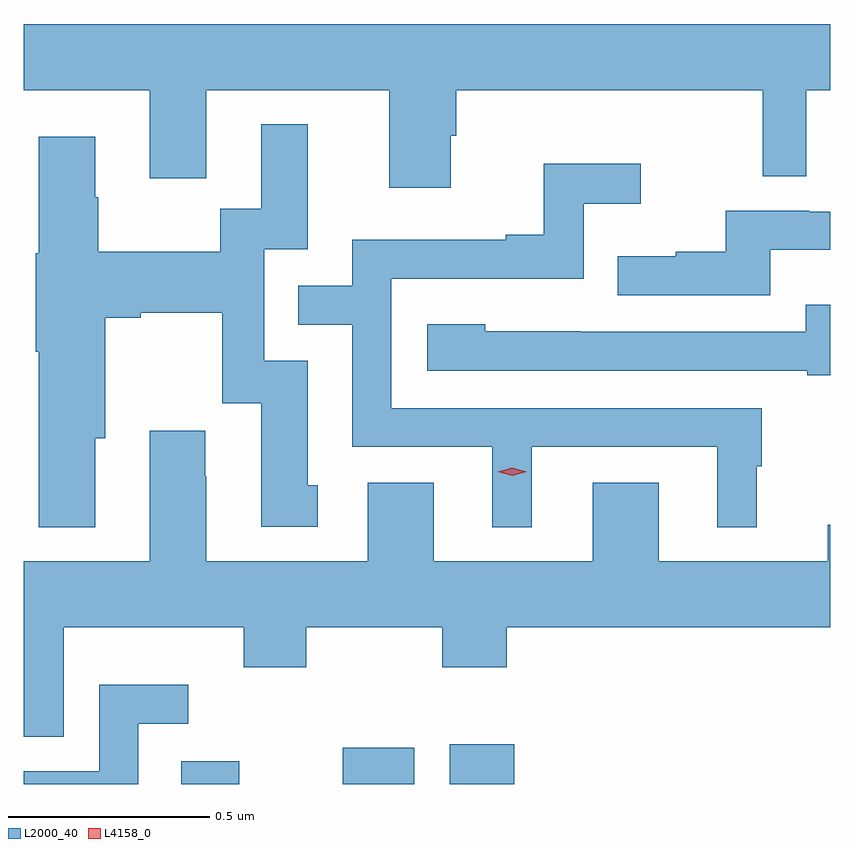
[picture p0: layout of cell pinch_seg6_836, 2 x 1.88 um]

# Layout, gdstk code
import gdstk
lib = gdstk.Library(unit=1e-6, precision=1e-09)
def R(c, l, rs):  # rectangles x0, y0, x1, y1
    for r in rs: c.add(gdstk.rectangle(r[:2], r[2:], *l))
def P(c, l, *ps):  # polygons
    for p in ps: c.add(gdstk.Polygon(p, *l))
L2000_40 = (2000, 40)
L4158_0 = (4158, 0)

pinch_seg6_836 = lib.new_cell('pinch_seg6_836')
R(pinch_seg6_836, L2000_40, [(206.855,966.928,206.998,966.985), (207.255,966.928,207.432,967.018), (207.521,966.928,207.68,967.027)])
P(pinch_seg6_836, L2000_40, [(207.523,968.535),(207.536,968.535),(207.536,968.648),(208.296,968.648),(208.296,968.434),(208.404,968.434),(208.404,968.648),(208.464,968.648),(208.464,968.812),(206.464,968.812),(206.464,968.648),(206.777,968.648),(206.777,968.43),(206.917,968.43),(206.917,968.648),(207.371,968.648),(207.371,968.406),(207.523,968.406)],
  [(206.641,967.785),(206.667,967.785),(206.667,968.084),(206.755,968.084),(206.755,968.096),(206.957,968.096),(206.957,967.872),(207.053,967.872),(207.053,967.566),(207.193,967.566),(207.193,967.668),(207.169,967.668),(207.169,967.977),(207.06,967.977),(207.06,968.253),(207.169,968.253),(207.169,968.563),(207.053,968.563),(207.053,968.354),(206.952,968.354),(206.952,968.248),(206.649,968.248),(206.649,968.382),(206.641,968.382),(206.641,968.533),(206.501,968.533),(206.501,968.244),(206.494,968.244),(206.494,968),(206.501,968),(206.501,967.565),(206.641,967.565)],
  [(207.724,967.764),(208.184,967.764),(208.184,967.565),(208.282,967.565),(208.282,967.716),(208.294,967.716),(208.294,967.86),(207.375,967.86),(207.375,968.181),(207.852,968.181),(207.852,968.366),(207.994,968.366),(207.994,968.465),(207.754,968.465),(207.754,968.29),(207.659,968.29),(207.659,968.277),(207.279,968.277),(207.279,968.163),(207.145,968.163),(207.145,968.067),(207.279,968.067),(207.279,967.764),(207.626,967.764),(207.626,967.565),(207.724,967.565)],
  [(208.315,968.252),(208.464,968.252),(208.464,968.346),(208.412,968.346),(208.412,968.349),(208.205,968.349),(208.205,968.248),(208.081,968.248),(208.081,968.236),(207.937,968.236),(207.937,968.139),(208.315,968.139)],
  [(208.464,968.116),(208.403,968.116),(208.403,968.049),(207.845,968.049),(207.845,968.05),(207.609,968.05),(207.609,968.068),(207.465,968.068),(207.465,967.953),(208.407,967.953),(208.407,967.941),(208.464,967.941)],
  [(207.01,967.217),(207.165,967.217),(207.165,967.316),(207.502,967.316),(207.502,967.217),(207.662,967.217),(207.662,967.316),(208.464,967.316),(208.464,967.571),(208.457,967.571),(208.457,967.48),(208.039,967.48),(208.039,967.675),(207.875,967.675),(207.875,967.48),(207.481,967.48),(207.481,967.675),(207.317,967.675),(207.317,967.48),(206.917,967.48),(206.917,967.691),(206.914,967.691),(206.914,967.804),(206.777,967.804),(206.777,967.48),(206.464,967.48),(206.464,967.045),(206.563,967.045),(206.563,967.316),(207.01,967.316)],
  [(206.748,967.077),(206.872,967.077),(206.872,967.174),(206.652,967.174),(206.652,966.96),(206.464,966.96),(206.464,966.928),(206.748,966.928)])
P(pinch_seg6_836, L4158_0, [(207.675,967.692),(207.639,967.702),(207.639,967.702),(207.639,967.702),(207.675,967.712),(207.711,967.702),(207.711,967.702),(207.711,967.702)])

lib.write_gds('pinch_seg6_836.gds')
